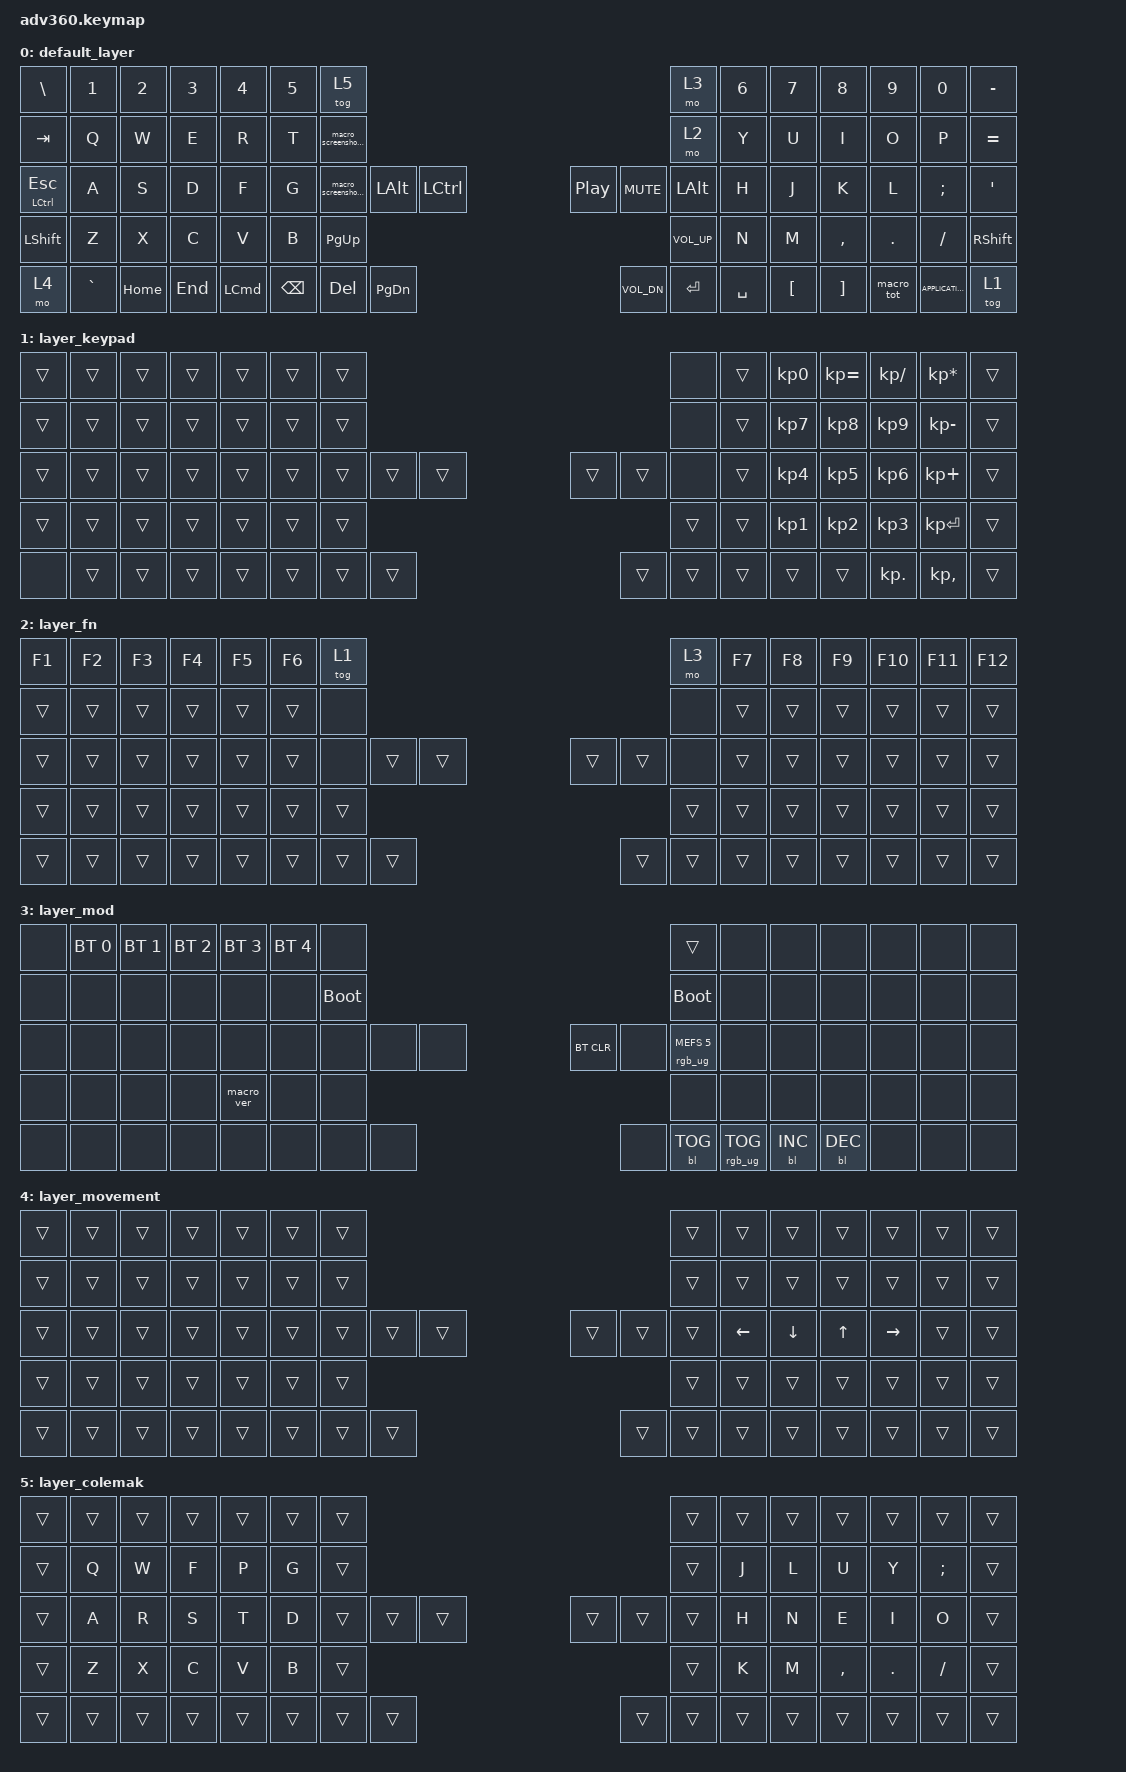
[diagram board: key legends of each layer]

/*
 * Copyright (c) 2020 The ZMK Contributors
 *
 * SPDX-License-Identifier: MIT
 */


/* THIS FILE WAS GENERATED!
 *
 * This file was generated automatically. You may or may not want to
 * edit it directly.
 */

#include <behaviors.dtsi>
#include <dt-bindings/zmk/keys.h>
#include <dt-bindings/zmk/bt.h>
#include <dt-bindings/zmk/rgb.h>
#include <dt-bindings/zmk/backlight.h>

/ {
  behaviors {
    #include "macros.dtsi"
    #include "version.dtsi"

    hm: homerow_mods {
        compatible = "zmk,behavior-hold-tap";
        label = "HOMEROW_MODS";
        #binding-cells = <2>;
        tapping-term-ms = <200>;
        quick_tap_ms = <175>;
        flavor = "tap-preferred";
        bindings = <&kp>, <&kp>;
    };
  };

    keymap {
        compatible = "zmk,keymap";


        default_layer {
            bindings = <
                &kp BSLH     &kp N1    &kp N2   &kp N3            &kp N4  &kp N5                            &tog 5                                                                                &mo 3  &kp N6    &kp N7     &kp N8      &kp N9             &kp N0  &kp MINUS
                 &kp TAB      &kp Q     &kp W    &kp E             &kp R   &kp T            &macro_screenshot_full                                                                                &mo 2   &kp Y     &kp U      &kp I       &kp O              &kp P  &kp EQUAL
 &mt LEFT_CONTROL ESCAPE      &kp A     &kp S    &kp D             &kp F   &kp G            &macro_screenshot_rect  &kp LEFT_ALT  &kp LCTRL                  &kp C_PLAY_PAUSE  &kp C_MUTE  &kp LEFT_ALT   &kp H     &kp J      &kp K       &kp L           &kp SEMI    &kp SQT
               &kp LSHFT      &kp Z     &kp X    &kp C             &kp V   &kp B                                                  &kp PG_UP                      &kp C_VOL_UP                             &kp N     &kp M  &kp COMMA     &kp DOT           &kp FSLH  &kp RSHFT
                   &mo 4  &kp GRAVE  &kp HOME  &kp END  &kp LEFT_COMMAND                                  &kp BSPC       &kp DEL  &kp PG_DN                      &kp C_VOL_DN   &kp ENTER     &kp SPACE          &kp LBKT   &kp RBKT  &macro_tot  &kp K_APPLICATION     &tog 1
            >;
        };

        layer_keypad {
            bindings = <
 &trans  &trans  &trans  &trans  &trans  &trans            &trans                                                   &none  &trans  &kp KP_NUMBER_0  &kp KP_EQUAL  &kp KP_DIVIDE  &kp KP_MULTIPLY  &trans
 &trans  &trans  &trans  &trans  &trans  &trans            &trans                                                   &none  &trans  &kp KP_NUMBER_7     &kp KP_N8      &kp KP_N9     &kp KP_MINUS  &trans
 &trans  &trans  &trans  &trans  &trans  &trans            &trans  &trans  &trans                  &trans  &trans   &none  &trans  &kp KP_NUMBER_4     &kp KP_N5      &kp KP_N6      &kp KP_PLUS  &trans
 &trans  &trans  &trans  &trans  &trans  &trans                            &trans                  &trans                  &trans  &kp KP_NUMBER_1     &kp KP_N2      &kp KP_N3     &kp KP_ENTER  &trans
  &none  &trans  &trans  &trans  &trans                    &trans  &trans  &trans                  &trans  &trans  &trans                   &trans        &trans     &kp KP_DOT     &kp KP_COMMA  &trans
            >;
        };

        layer_fn {
            bindings = <
 &kp F1  &kp F2  &kp F3  &kp F4  &kp F5  &kp F6            &tog 1                                                   &mo 3  &kp F7  &kp F8  &kp F9  &kp F10  &kp F11  &kp F12
 &trans  &trans  &trans  &trans  &trans  &trans             &none                                                   &none  &trans  &trans  &trans   &trans   &trans   &trans
 &trans  &trans  &trans  &trans  &trans  &trans             &none  &trans  &trans                  &trans  &trans   &none  &trans  &trans  &trans   &trans   &trans   &trans
 &trans  &trans  &trans  &trans  &trans  &trans                            &trans                  &trans                  &trans  &trans  &trans   &trans   &trans   &trans
 &trans  &trans  &trans  &trans  &trans                    &trans  &trans  &trans                  &trans  &trans  &trans          &trans  &trans   &trans   &trans   &trans
            >;
        };

        layer_mod {
            bindings = <
  &none  &bt BT_SEL 0  &bt BT_SEL 1  &bt BT_SEL 2  &bt BT_SEL 3  &bt BT_SEL 4                  &none                                                                          &trans   &none       &none       &none   &none   &none   &none
  &none         &none         &none         &none         &none         &none            &bootloader                                                                     &bootloader   &none       &none       &none   &none   &none   &none
  &none         &none         &none         &none         &none         &none                  &none   &none   &none                  &bt BT_CLR       &none  &rgb_ug RGB_MEFS_CMD 5   &none       &none       &none   &none   &none   &none
  &none         &none         &none         &none    &macro_ver         &none                                  &none                       &none                                       &none       &none       &none   &none   &none   &none
  &none         &none         &none         &none         &none                                &none   &none   &none                       &none  &bl BL_TOG         &rgb_ug RGB_TOG          &bl BL_INC  &bl BL_DEC   &none   &none   &none
            >;
        };

        layer_movement {
            bindings = <
 &trans  &trans  &trans  &trans  &trans  &trans            &trans                                                  &trans    &trans    &trans  &trans     &trans  &trans  &trans
 &trans  &trans  &trans  &trans  &trans  &trans            &trans                                                  &trans    &trans    &trans  &trans     &trans  &trans  &trans
 &trans  &trans  &trans  &trans  &trans  &trans            &trans  &trans  &trans                  &trans  &trans  &trans  &kp LEFT  &kp DOWN  &kp UP  &kp RIGHT  &trans  &trans
 &trans  &trans  &trans  &trans  &trans  &trans                            &trans                  &trans                    &trans    &trans  &trans     &trans  &trans  &trans
 &trans  &trans  &trans  &trans  &trans                    &trans  &trans  &trans                  &trans  &trans  &trans              &trans  &trans     &trans  &trans  &trans
            >;
        };

        layer_colemak {
            bindings = <
 &trans  &trans  &trans  &trans  &trans  &trans            &trans                                                  &trans  &trans  &trans     &trans   &trans         &trans  &trans
 &trans   &kp Q   &kp W   &kp F   &kp P   &kp G            &trans                                                  &trans   &kp J   &kp L      &kp U    &kp Y  &kp SEMICOLON  &trans
 &trans   &kp A   &kp R   &kp S   &kp T   &kp D            &trans  &trans  &trans                  &trans  &trans  &trans   &kp H   &kp N      &kp E    &kp I          &kp O  &trans
 &trans   &kp Z   &kp X   &kp C   &kp V   &kp B                            &trans                  &trans                   &kp K   &kp M  &kp COMMA  &kp DOT      &kp SLASH  &trans
 &trans  &trans  &trans  &trans  &trans                    &trans  &trans  &trans                  &trans  &trans  &trans          &trans     &trans   &trans         &trans  &trans
            >;
        };

    };
};
